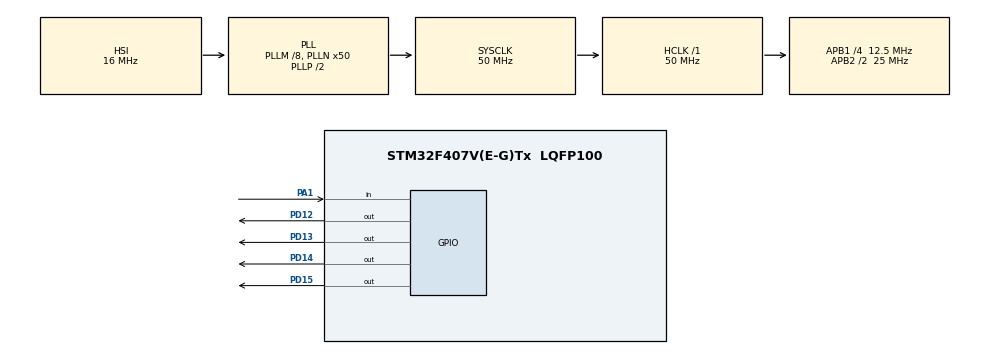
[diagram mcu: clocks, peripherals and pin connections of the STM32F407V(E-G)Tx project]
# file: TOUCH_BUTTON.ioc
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Mcu.Family=STM32F4
Mcu.Name=STM32F407V(E-G)Tx
Mcu.Package=LQFP100
NVIC.PriorityGroup=NVIC_PRIORITYGROUP_0
PA1.Signal=GPIO_Input
PD12.Signal=GPIO_Output
PD13.Signal=GPIO_Output
PD14.Signal=GPIO_Output
PD15.Signal=GPIO_Output
ProjectManager.HeapSize=0x200
ProjectManager.StackSize=0x400
ProjectManager.TargetToolchain=STM32CubeIDE
RCC.48MHZClocksFreq_Value=14285714.285714285
RCC.AHBFreq_Value=50000000
RCC.APB1CLKDivider=RCC_HCLK_DIV4
RCC.APB1Freq_Value=12500000
RCC.APB1TimFreq_Value=25000000
RCC.APB2CLKDivider=RCC_HCLK_DIV2
RCC.APB2Freq_Value=25000000
RCC.APB2TimFreq_Value=50000000
RCC.CortexFreq_Value=50000000
RCC.HCLKFreq_Value=50000000
RCC.HSE_VALUE=8000000
RCC.HSI_VALUE=16000000
RCC.PLLM=8
RCC.PLLN=50
RCC.PLLQ=7
RCC.SYSCLKFreq_VALUE=50000000
RCC.SYSCLKSource=RCC_SYSCLKSOURCE_PLLCLK
RCC.VCOOutputFreq_Value=100000000
board=STM32F407G-DISC1

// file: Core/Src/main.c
/* USER CODE BEGIN Header */
/**
  ******************************************************************************
  * @file           : main.c
  * @brief          : Main program body
  ******************************************************************************
  * @attention
  *
  * Copyright (c) 2022 STMicroelectronics.
  * All rights reserved.
  *
  * This software is licensed under terms that can be found in the LICENSE file
  * in the root directory of this software component.
  * If no LICENSE file comes with this software, it is provided AS-IS.
  *
  ******************************************************************************
  */
/* USER CODE END Header */
#include "main.h"

/* USER CODE BEGIN PV */
int butondurum=0;
int counter = 0 ;

/* USER CODE END PV */

void SystemClock_Config(void);
static void MX_GPIO_Init(void);

int main(void)
{

  /* MCU Configuration--------------------------------------------------------*/

  /* Reset of all peripherals, Initializes the Flash interface and the Systick. */
  HAL_Init();

  /* Configure the system clock */
  SystemClock_Config();

  /* Initialize all configured peripherals */
  MX_GPIO_Init();

  /* Infinite loop */
  while (1)
  {

    /* USER CODE BEGIN 3 */
	  butondurum = HAL_GPIO_ReadPin(GPIOA, GPIO_PIN_1);

	  if(butondurum==1){
		 HAL_GPIO_WritePin(GPIOD, GPIO_PIN_12,GPIO_PIN_SET);
		 HAL_GPIO_WritePin(GPIOD, GPIO_PIN_13,GPIO_PIN_SET);
		 HAL_GPIO_WritePin(GPIOD, GPIO_PIN_14,GPIO_PIN_SET);
		 HAL_GPIO_WritePin(GPIOD, GPIO_PIN_15,GPIO_PIN_SET);

		  while(butondurum==0)
		  		{

		  		}
counter++;
		  		while(butondurum==1){
		  			HAL_Delay(200);
		  						butondurum=HAL_GPIO_ReadPin(GPIOA, GPIO_PIN_1);

		  		}

	  }
	  else
	  {

		  	  	 HAL_GPIO_WritePin(GPIOD, GPIO_PIN_12,GPIO_PIN_RESET);
		  		 HAL_GPIO_WritePin(GPIOD, GPIO_PIN_13,GPIO_PIN_RESET);
		  		 HAL_GPIO_WritePin(GPIOD, GPIO_PIN_14,GPIO_PIN_RESET);
		  		 HAL_GPIO_WritePin(GPIOD, GPIO_PIN_15,GPIO_PIN_RESET);
	  }

  }
  /* USER CODE END 3 */
}

void SystemClock_Config(void)
{
  RCC_OscInitTypeDef RCC_OscInitStruct = {0};
  RCC_ClkInitTypeDef RCC_ClkInitStruct = {0};

  /** Configure the main internal regulator output voltage
  */
  __HAL_RCC_PWR_CLK_ENABLE();
  __HAL_PWR_VOLTAGESCALING_CONFIG(PWR_REGULATOR_VOLTAGE_SCALE1);

  /** Initializes the RCC Oscillators according to the specified parameters
  * in the RCC_OscInitTypeDef structure.
  */
  RCC_OscInitStruct.OscillatorType = RCC_OSCILLATORTYPE_HSI;
  RCC_OscInitStruct.HSIState = RCC_HSI_ON;
  RCC_OscInitStruct.HSICalibrationValue = RCC_HSICALIBRATION_DEFAULT;
  RCC_OscInitStruct.PLL.PLLState = RCC_PLL_ON;
  RCC_OscInitStruct.PLL.PLLSource = RCC_PLLSOURCE_HSI;
  RCC_OscInitStruct.PLL.PLLM = 8;
  RCC_OscInitStruct.PLL.PLLN = 50;
  RCC_OscInitStruct.PLL.PLLP = RCC_PLLP_DIV2;
  RCC_OscInitStruct.PLL.PLLQ = 7;
  if (HAL_RCC_OscConfig(&RCC_OscInitStruct) != HAL_OK)
  {
    Error_Handler();
  }

  /** Initializes the CPU, AHB and APB buses clocks
  */
  RCC_ClkInitStruct.ClockType = RCC_CLOCKTYPE_HCLK|RCC_CLOCKTYPE_SYSCLK
                              |RCC_CLOCKTYPE_PCLK1|RCC_CLOCKTYPE_PCLK2;
  RCC_ClkInitStruct.SYSCLKSource = RCC_SYSCLKSOURCE_PLLCLK;
  RCC_ClkInitStruct.AHBCLKDivider = RCC_SYSCLK_DIV1;
  RCC_ClkInitStruct.APB1CLKDivider = RCC_HCLK_DIV4;
  RCC_ClkInitStruct.APB2CLKDivider = RCC_HCLK_DIV2;

  if (HAL_RCC_ClockConfig(&RCC_ClkInitStruct, FLASH_LATENCY_1) != HAL_OK)
  {
    Error_Handler();
  }
}

static void MX_GPIO_Init(void)
{
  GPIO_InitTypeDef GPIO_InitStruct = {0};

  /* GPIO Ports Clock Enable */
  __HAL_RCC_GPIOA_CLK_ENABLE();
  __HAL_RCC_GPIOD_CLK_ENABLE();

  /*Configure GPIO pin Output Level */
  HAL_GPIO_WritePin(GPIOD, GPIO_PIN_12|GPIO_PIN_13|GPIO_PIN_14|GPIO_PIN_15, GPIO_PIN_RESET);

  /*Configure GPIO pin : PA1 */
  GPIO_InitStruct.Pin = GPIO_PIN_1;
  GPIO_InitStruct.Mode = GPIO_MODE_INPUT;
  GPIO_InitStruct.Pull = GPIO_NOPULL;
  HAL_GPIO_Init(GPIOA, &GPIO_InitStruct);

  /*Configure GPIO pins : PD12 PD13 PD14 PD15 */
  GPIO_InitStruct.Pin = GPIO_PIN_12|GPIO_PIN_13|GPIO_PIN_14|GPIO_PIN_15;
  GPIO_InitStruct.Mode = GPIO_MODE_OUTPUT_PP;
  GPIO_InitStruct.Pull = GPIO_NOPULL;
  GPIO_InitStruct.Speed = GPIO_SPEED_FREQ_LOW;
  HAL_GPIO_Init(GPIOD, &GPIO_InitStruct);

}

void Error_Handler(void)
{
  __disable_irq();
  while (1)
  {
  }
}
